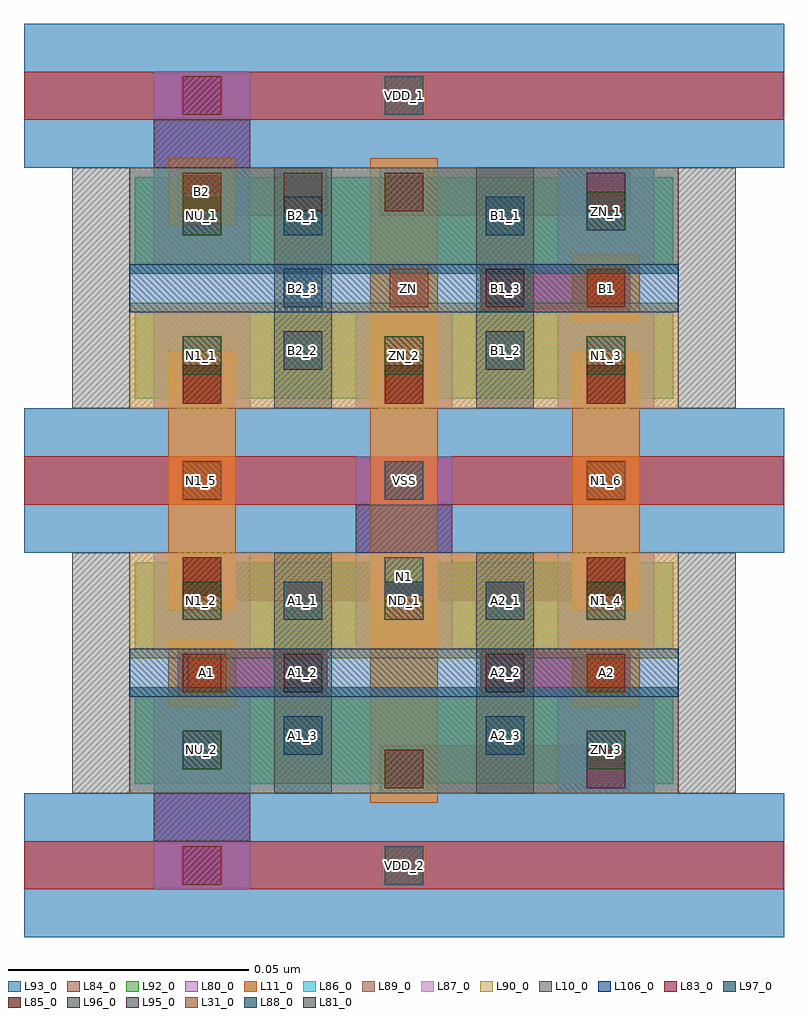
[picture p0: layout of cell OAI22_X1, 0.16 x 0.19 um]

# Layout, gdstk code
import gdstk
lib = gdstk.Library(unit=1e-6, precision=1e-09)
def R(c, l, rs):  # rectangles x0, y0, x1, y1
    for r in rs: c.add(gdstk.rectangle(r[:2], r[2:], *l))
def A(c, l, x, y, w, h, nx, ny, dx, dy):  # array of equal rectangles
    R(c, l, [(x+i*dx, y+j*dy, x+i*dx+w, y+j*dy+h) for i in range(nx) for j in range(ny)])
L10_0 = (10, 0)
L11_0 = (11, 0)
L31_0 = (31, 0)
L80_0 = (80, 0)
L81_0 = (81, 0)
L83_0 = (83, 0)
L84_0 = (84, 0)
L85_0 = (85, 0)
L86_0 = (86, 0)
L87_0 = (87, 0)
L88_0 = (88, 0)
L89_0 = (89, 0)
L90_0 = (90, 0)
L92_0 = (92, 0)
L93_0 = (93, 0)
L95_0 = (95, 0)
L96_0 = (96, 0)
L97_0 = (97, 0)
L106_0 = (106, 0)

oai22_x1 = lib.new_cell('OAI22_X1')
A(oai22_x1, L10_0, -0.027, -0.065, 0.012, 0.05, 4, 2, 0.042, 0.08)
A(oai22_x1, L11_0, -0.007, -0.027, 0.014, 0.034, 3, 2, 0.042, 0.02)
R(oai22_x1, L11_0, [(0.035,-0.067,0.049,-0.033), (-0.007,-0.047,0.007,-0.033), (0.035,-0.047,0.049,-0.013), (0.077,-0.047,0.091,-0.033), (0.035,0.013,0.049,0.047), (0.035,0.033,0.049,0.067), (0.077,0.033,0.091,0.047), (-0.007,0.053,0.007,0.067)])
A(oai22_x1, L31_0, 0.08, -0.044, 0.008, 0.008, 1, 3, 0, 0.04)
R(oai22_x1, L31_0, [(-0.003,-0.044,0.005,-0.036), (-0.004,-0.004,0.004,0.004), (0.039,0.036,0.047,0.044), (-0.004,0.056,0.004,0.064)])
A(oai22_x1, L80_0, -0.01, 0.015, 0.02, 0.02, 3, 1, 0.042, 0)
R(oai22_x1, L80_0, [(-0.01,-0.085,0.01,-0.064), (-0.01,-0.065,0.01,-0.045), (0.074,-0.065,0.094,-0.045), (-0.01,-0.035,0.01,-0.015), (-0.01,-0.035,0.01,-0.015), (0.032,-0.035,0.052,-0.015), (0.032,-0.035,0.052,-0.015), (0.074,-0.035,0.094,-0.015), (0.074,-0.035,0.094,-0.015), (0.032,-0.024,0.052,0.005), (-0.01,0.045,0.01,0.065), (-0.01,0.045,0.01,0.065), (0.074,0.045,0.094,0.065), (0.074,0.045,0.094,0.065), (-0.01,0.056,0.01,0.085)])
R(oai22_x1, L81_0, [(0.017,-0.044,0.025,-0.036), (0.059,-0.044,0.067,-0.036), (0.059,0.036,0.067,0.044), (0.017,0.056,0.025,0.064)])
A(oai22_x1, L83_0, -0.004, 0.016, 0.008, 0.008, 3, 1, 0.042, 0)
R(oai22_x1, L83_0, [(-0.004,-0.084,0.004,-0.076), (0.08,-0.064,0.088,-0.056), (-0.004,-0.024,0.004,-0.016), (0.08,-0.024,0.088,-0.016), (0.038,-0.004,0.046,0.004), (0.08,0.056,0.088,0.064), (0.08,0.056,0.088,0.064), (0.08,0.056,0.088,0.064), (0.08,0.056,0.088,0.064), (-0.004,0.076,0.004,0.084)])
A(oai22_x1, L84_0, -0.037, -0.085, 0.158, 0.01, 1, 3, 0, 0.08)
A(oai22_x1, L84_0, -0.005, -0.025, 0.031, 0.01, 4, 1, 0.021, 0)
A(oai22_x1, L84_0, -0.005, 0.015, 0.01, 0.01, 3, 1, 0.042, 0)
R(oai22_x1, L84_0, [(0.037,-0.065,0.068,-0.055), (0.058,-0.065,0.089,-0.055), (-0.005,-0.045,0.026,-0.035), (0.058,-0.045,0.089,-0.035), (0.058,0.035,0.089,0.045), (-0.005,0.055,0.026,0.065), (0.037,0.055,0.068,0.065), (0.058,0.055,0.089,0.065)])
A(oai22_x1, L85_0, -0.004, 0.016, 0.008, 0.008, 3, 1, 0.042, 0)
R(oai22_x1, L85_0, [(0.038,-0.064,0.046,-0.056), (-0.004,-0.044,0.004,-0.036), (0.08,-0.044,0.088,-0.036), (-0.004,-0.024,0.004,-0.016), (0.08,-0.024,0.088,-0.016), (0.08,0.036,0.088,0.044), (-0.004,0.056,0.004,0.064), (0.038,0.056,0.046,0.064)])
R(oai22_x1, L86_0, [(-0.015,-0.065,0.099,-0.043), (-0.015,0.043,0.099,0.065)])
R(oai22_x1, L87_0, [(-0.015,-0.037,0.099,-0.015), (-0.015,0.015,0.099,0.037)])
R(oai22_x1, L88_0, [(0.038,-0.084,0.046,-0.076), (0.038,-0.024,0.046,-0.016), (0.038,-0.004,0.046,0.004), (0.038,0.076,0.046,0.084)])
R(oai22_x1, L89_0, [(-0.015,-0.065,0.099,-0.043), (-0.015,0.043,0.099,0.065)])
R(oai22_x1, L90_0, [(-0.015,-0.037,0.099,-0.015), (-0.015,0.015,0.099,0.037)])
R(oai22_x1, L92_0, [(-0.014,-0.063,0.098,-0.045), (-0.014,-0.035,0.098,-0.017), (-0.014,0.017,0.098,0.035), (-0.014,0.045,0.098,0.063)])
A(oai22_x1, L93_0, -0.037, -0.095, 0.158, 0.03, 1, 3, 0, 0.08)
R(oai22_x1, L95_0, [(-0.01,-0.075,0.01,-0.065), (0.032,-0.015,0.052,-0.005), (-0.01,0.065,0.01,0.075)])
A(oai22_x1, L96_0, -0.004, -0.029, 0.008, 0.008, 3, 2, 0.042, 0.051)
R(oai22_x1, L96_0, [(-0.004,-0.06,0.004,-0.052), (0.08,-0.06,0.088,-0.052), (-0.004,0.051,0.004,0.059), (0.08,0.052,0.088,0.06)])
R(oai22_x1, L97_0, [(0.017,-0.057,0.025,-0.049), (0.059,-0.057,0.067,-0.049), (0.017,-0.044,0.025,-0.036), (0.059,-0.044,0.067,-0.036), (0.017,-0.029,0.025,-0.021), (0.059,-0.029,0.067,-0.021), (0.017,0.023,0.025,0.031), (0.059,0.023,0.067,0.031), (0.017,0.036,0.025,0.044), (0.059,0.036,0.067,0.044), (0.017,0.051,0.025,0.059), (0.059,0.051,0.067,0.059)])
R(oai22_x1, L106_0, [(-0.015,-0.045,0.099,-0.035), (-0.015,0.035,0.099,0.045)])
oai22_x1.add(gdstk.Label('N1', (0.042,-0.02), layer=88, texttype=0))
oai22_x1.add(gdstk.Label('VDD_2', (0.042,-0.08), layer=88, texttype=0))
oai22_x1.add(gdstk.Label('VDD_1', (0.042,0.08), layer=88, texttype=0))
oai22_x1.add(gdstk.Label('VSS', (0.042,0), layer=88, texttype=0))
oai22_x1.add(gdstk.Label('N1_6', (0.084,0), layer=31, texttype=0))
oai22_x1.add(gdstk.Label('N1_5', (0,0), layer=31, texttype=0))
oai22_x1.add(gdstk.Label('A2', (0.084,-0.04), layer=31, texttype=0))
oai22_x1.add(gdstk.Label('A1', (0.001,-0.04), layer=31, texttype=0))
oai22_x1.add(gdstk.Label('ZN', (0.043,0.04), layer=31, texttype=0))
oai22_x1.add(gdstk.Label('B1', (0.084,0.04), layer=31, texttype=0))
oai22_x1.add(gdstk.Label('B2', (0,0.06), layer=31, texttype=0))
oai22_x1.add(gdstk.Label('A1_3', (0.021,-0.053), layer=97, texttype=0))
oai22_x1.add(gdstk.Label('A1_2', (0.021,-0.04), layer=97, texttype=0))
oai22_x1.add(gdstk.Label('A1_1', (0.021,-0.025), layer=97, texttype=0))
oai22_x1.add(gdstk.Label('A2_1', (0.063,-0.025), layer=97, texttype=0))
oai22_x1.add(gdstk.Label('A2_2', (0.063,-0.04), layer=97, texttype=0))
oai22_x1.add(gdstk.Label('A2_3', (0.063,-0.053), layer=97, texttype=0))
oai22_x1.add(gdstk.Label('B1_2', (0.063,0.027), layer=97, texttype=0))
oai22_x1.add(gdstk.Label('B1_3', (0.063,0.04), layer=97, texttype=0))
oai22_x1.add(gdstk.Label('B1_1', (0.063,0.055), layer=97, texttype=0))
oai22_x1.add(gdstk.Label('B2_1', (0.021,0.055), layer=97, texttype=0))
oai22_x1.add(gdstk.Label('B2_3', (0.021,0.04), layer=97, texttype=0))
oai22_x1.add(gdstk.Label('B2_2', (0.021,0.027), layer=97, texttype=0))
oai22_x1.add(gdstk.Label('ZN_3', (0.084,-0.056), layer=96, texttype=0))
oai22_x1.add(gdstk.Label('ND_1', (0.042,-0.025), layer=96, texttype=0))
oai22_x1.add(gdstk.Label('NU_2', (0,-0.056), layer=96, texttype=0))
oai22_x1.add(gdstk.Label('N1_3', (0.084,0.026), layer=96, texttype=0))
oai22_x1.add(gdstk.Label('N1_4', (0.084,-0.025), layer=96, texttype=0))
oai22_x1.add(gdstk.Label('N1_1', (0,0.026), layer=96, texttype=0))
oai22_x1.add(gdstk.Label('N1_2', (0,-0.025), layer=96, texttype=0))
oai22_x1.add(gdstk.Label('ZN_2', (0.042,0.026), layer=96, texttype=0))
oai22_x1.add(gdstk.Label('NU_1', (0,0.055), layer=96, texttype=0))
oai22_x1.add(gdstk.Label('ZN_1', (0.084,0.056), layer=96, texttype=0))

lib.write_gds('OAI22_X1.gds')
